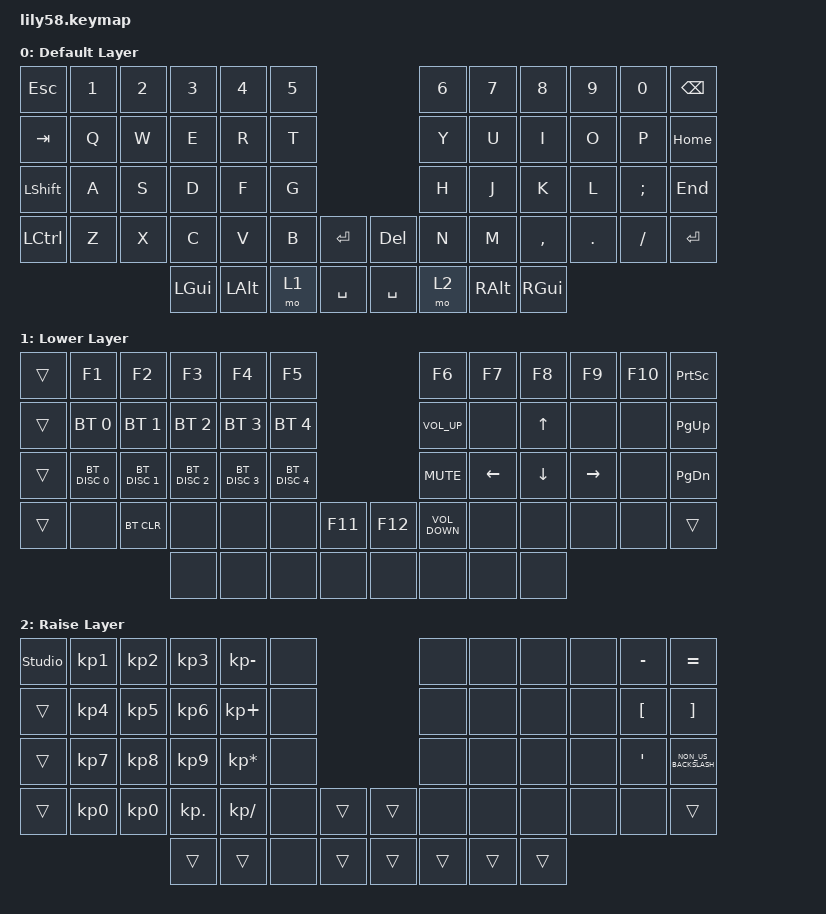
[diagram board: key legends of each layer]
/*
 * Copyright (c) 2020 The ZMK Contributors
 *
 * SPDX-License-Identifier: MIT
 */

#include <behaviors.dtsi>
#include <dt-bindings/zmk/bt.h>
#include <dt-bindings/zmk/keys.h>

/ {
    keymap {
        compatible = "zmk,keymap";

        default_layer {
            display-name = "Default Layer";

            // ------------------------------------------------------------------------------------------------------------
            // |  ESC  |  1  |  2  |  3   |  4   |  5   |                   |  6   |  7    |  8    |  9   |   0   |   `   |
            // |  TAB  |  Q  |  W  |  E   |  R   |  T   |                   |  Y   |  U    |  I    |  O   |   P   |   -   |
            // |  CTRL |  A  |  S  |  D   |  F   |  G   |                   |  H   |  J    |  K    |  L   |   ;   |   '   |
            // | SHIFT |  Z  |  X  |  C   |  V   |  B   |   "["  |  |  "]"  |  N   |  M    |  ,    |  .   |   /   | SHIFT |
            //                     | ALT  | GUI  | LOWER|  SPACE |  | ENTER | RAISE| BSPC  | GUI   |

            bindings = <
&kp ESC     &kp N1  &kp N2  &kp N3        &kp N4        &kp N5                          &kp N6  &kp N7         &kp N8         &kp N9   &kp N0    &kp BACKSPACE
&kp TAB     &kp Q   &kp W   &kp E         &kp R         &kp T                           &kp Y   &kp U          &kp I          &kp O    &kp P     &kp HOME
&kp LSHIFT  &kp A   &kp S   &kp D         &kp F         &kp G                           &kp H   &kp J          &kp K          &kp L    &kp SEMI  &kp END
&kp LCTRL   &kp Z   &kp X   &kp C         &kp V         &kp B   &kp ENTER    &kp DEL    &kp N   &kp M          &kp COMMA      &kp DOT  &kp FSLH  &kp RET
                            &kp LEFT_GUI  &kp LEFT_ALT  &mo 1   &kp SPACE    &kp SPACE  &mo 2   &kp RIGHT_ALT  &kp RIGHT_GUI
            >;
        };

        lower_layer {
            display-name = "Lower Layer";

            // ------------------------------------------------------------------------------------------------------------
            // | BTCLR | BT1 | BT2 |  BT3 |  BT4 |  BT5 |                   |      |       |       |      |       |       |
            // |  F1   |  F2 |  F3 |  F4  |  F5  |  F6  |                   |  F7  |  F8   |  F9   |  F10 |  F11  |  F12  |
            // |   `   |  !  |  @  |  #   |  $   |  %   |                   |  ^   |  &    |  *    |  (   |   )   |   ~   |
            // |       |     |     |      |      |      |        |  |       |      |  _    |  +    |  {   |   }   |  "|"  |
            //                     |      |      |      |        |  |       |      |       |       |

            bindings = <
&trans  &kp F1         &kp F2         &kp F3         &kp F4         &kp F5                             &kp F6             &kp F7          &kp F8          &kp F9           &kp F10  &kp PRINTSCREEN
&trans  &bt BT_SEL 0   &bt BT_SEL 1   &bt BT_SEL 2   &bt BT_SEL 3   &bt BT_SEL 4                       &kp C_VOLUME_UP    &none           &kp UP_ARROW    &none            &none    &kp PAGE_UP
&trans  &bt BT_DISC 0  &bt BT_DISC 1  &bt BT_DISC 2  &bt BT_DISC 3  &bt BT_DISC 4                      &kp K_MUTE         &kp LEFT_ARROW  &kp DOWN_ARROW  &kp RIGHT_ARROW  &none    &kp PAGE_DOWN
&trans  &none          &bt BT_CLR     &none          &none          &none          &kp F11    &kp F12  &kp C_VOLUME_DOWN  &none           &none           &none            &none    &trans
                                      &none          &none          &none          &none      &none    &none              &none           &none
            >;
        };

        raise_layer {
            display-name = "Raise Layer";

            // ------------------------------------------------------------------------------------------------------------
            // |       |     |     |      |      |      |                   |      |       |       |      |       |       |
            // |   `   |  1  |  2  |  3   |  4   |  5   |                   |  6   |   7   |   8   |  9   |   0   |       |
            // |   F1  |  F2 |  F3 |  F4  |  F5  |  F6  |                   |      |   <-  |   v   |  ^   |  ->   |       |
            // |   F7  |  F8 |  F9 |  F10 |  F11 |  F12 |        |  |       |  +   |   -   |   =   |  [   |   ]   |   \   |
            //                     |      |      |      |        |  |       |      |       |       |

            bindings = <
&studio_unlock  &kp KP_NUMBER_1  &kp KP_NUMBER_2  &kp KP_NUMBER_3  &kp KP_MINUS     &none                    &none   &none   &none   &none  &kp MINUS         &kp EQUAL
&trans          &kp KP_NUMBER_4  &kp KP_NUMBER_5  &kp KP_NUMBER_6  &kp KP_PLUS      &none                    &none   &none   &none   &none  &kp LEFT_BRACKET  &kp RIGHT_BRACKET
&trans          &kp KP_NUMBER_7  &kp KP_NUMBER_8  &kp KP_NUMBER_9  &kp KP_MULTIPLY  &none                    &none   &none   &none   &none  &kp SINGLE_QUOTE  &kp NON_US_BACKSLASH
&trans          &kp KP_NUMBER_0  &kp KP_NUMBER_0  &kp KP_DOT       &kp KP_DIVIDE    &none  &trans    &trans  &none   &none   &none   &none  &none             &trans
                                                  &trans           &trans           &none  &trans    &trans  &trans  &trans  &trans
            >;
        };
    };
};
